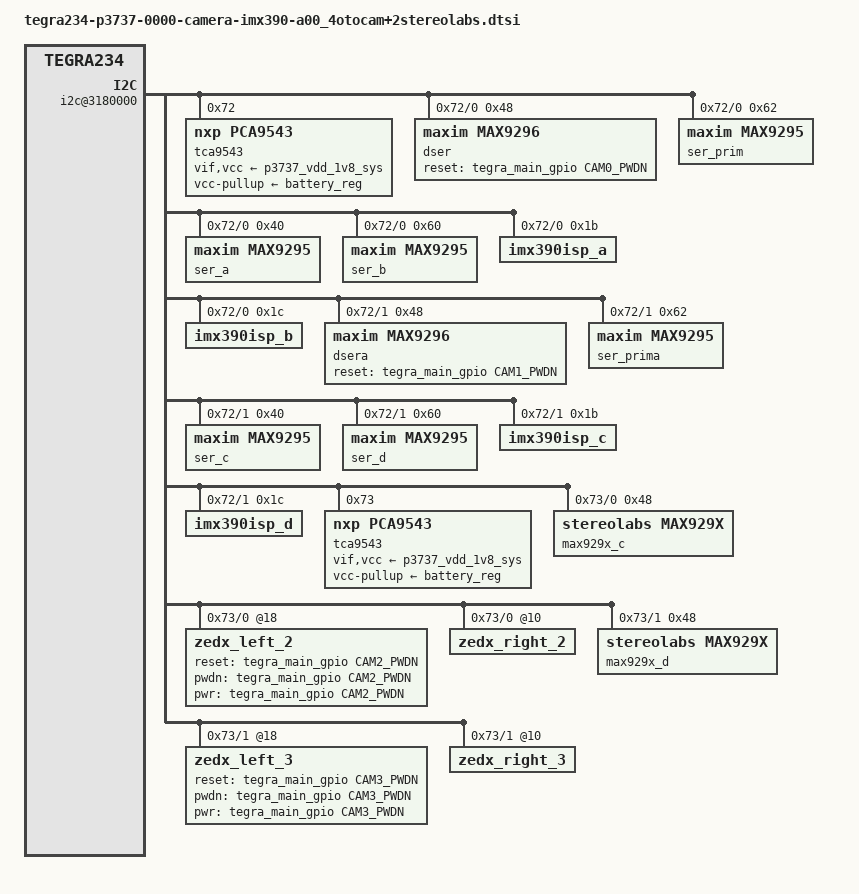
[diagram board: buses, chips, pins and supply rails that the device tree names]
/*
 * Copyright (c) 2018-2021, NVIDIA CORPORATION.  All rights reserved.
 *
 * This program is free software; you can redistribute it and/or modify it
 * under the terms and conditions of the GNU General Public License,
 * version 2, as published by the Free Software Foundation.
 *
 * This program is distributed in the hope it will be useful, but WITHOUT
 * ANY WARRANTY; without even the implied warranty of MERCHANTABILITY or
 * FITNESS FOR A PARTICULAR PURPOSE.  See the GNU General Public License for
 * more details.
 *
 * You should have received a copy of the GNU General Public License
 * along with this program.  If not, see <http://www.gnu.org/licenses/>.
 */
#include <t234-common-modules/tegra234-camera-ar0234-a00-4otocam+2stereolabs.dtsi>
#include "dt-bindings/clock/tegra234-clock.h"


#define CAM0_PWDN	TEGRA234_MAIN_GPIO(H, 6)
#define CAM1_PWDN	TEGRA234_MAIN_GPIO(AC, 0)
#define CAM2_PWDN	TEGRA234_MAIN_GPIO(H, 3)
#define CAM3_PWDN	TEGRA234_MAIN_GPIO(AC, 1)
#define CAMERA_I2C_MUX_BUS(x) (0x1E + x)

/* camera control gpio definitions */

/ {
	i2c@3180000 {
		tca9543@72 {
			compatible = "nxp,pca9543";
			reg = <0x72>;
			#address-cells = <1>;
			#size-cells = <0>;
			skip_mux_detect = "yes";
			vif-supply = <&p3737_vdd_1v8_sys>;
			vcc-supply = <&p3737_vdd_1v8_sys>;
			vcc-pullup-supply = <&battery_reg>;
			force_bus_start = <CAMERA_I2C_MUX_BUS(0)>;
			i2c-mux-idle-disconnect;
			i2c@0 {
				reg = <0>;
				i2c-mux,deselect-on-exit;
				#address-cells = <1>;
				#size-cells = <0>;
				i2c-mux-idle-disconnect;
				dser: max9296@48 {
					compatible = "maxim,max9296";
					streams = "yuv8";
					reg = <0x48>;
					csi-mode = "2x4";
					max-src = <2>;
					fsync-gpio = <6>; //fsync gpio on 9296
					reset-gpios = <&tegra_main_gpio CAM0_PWDN GPIO_ACTIVE_HIGH>;
				};
				ser_prim: max9295_prim@62 {
					compatible = "maxim,max9295";
					reg = <0x62>;
					is-prim-ser;
				};
				ser_a: max9295_a@40 {
					compatible = "maxim,max9295";
					reg = <0x40>;
					nvidia,gmsl-dser-device = <&dser>;
				};
				ser_b: max9295_b@60 {
					compatible = "maxim,max9295";
					reg = <0x60>;
					nvidia,gmsl-dser-device = <&dser>;
				};
				imx390isp_a@1b {
					reg = <0x1b>;
					
					/* Define any required hw resources needed by driver */
					/* ie. clocks, io pins, power sources */
					clocks = <&bpmp_clks TEGRA234_CLK_EXTPERIPH1>,
							<&bpmp_clks TEGRA234_CLK_EXTPERIPH1>;
					clock-names = "extperiph1", "pllp_grtba";
					mclk = "extperiph1";
					nvidia,gmsl-ser-device = <&ser_a>;
					nvidia,gmsl-dser-device = <&dser>;
				};
				imx390isp_b@1c {
					reg = <0x1c>;
					
					/* Define any required hw resources needed by driver */
					/* ie. clocks, io pins, power sources */
					clocks = <&bpmp_clks TEGRA234_CLK_EXTPERIPH1>,
							<&bpmp_clks TEGRA234_CLK_EXTPERIPH1>;
					clock-names = "extperiph1", "pllp_grtba";
					mclk = "extperiph1";
					nvidia,gmsl-ser-device = <&ser_b>;
					nvidia,gmsl-dser-device = <&dser>;
				};
			};
			i2c@1 {
				reg = <1>;
				i2c-mux,deselect-on-exit;
				#address-cells = <1>;
				#size-cells = <0>;
				i2c-mux-idle-disconnect;
				dsera: max9296@48 {
					compatible = "maxim,max9296";
					//streams = "yuv8";
					reg = <0x48>;
					csi-mode = "2x4";
					max-src = <2>;
					reset-gpios = <&tegra_main_gpio CAM1_PWDN GPIO_ACTIVE_HIGH>;
                                        fsync-gpio = <6>; //fsync gpio on 9296
				};
				ser_prima: max9295_prim@62 {
					compatible = "maxim,max9295";
					//streams = "yuv8";
					reg = <0x62>;
					is-prim-ser;
				};
				ser_c: max9295_a@40 {
					compatible = "maxim,max9295";
					reg = <0x40>;
					nvidia,gmsl-dser-device = <&dsera>;
				};
				ser_d: max9295_b@60 {
					compatible = "maxim,max9295";
					reg = <0x60>;
					nvidia,gmsl-dser-device = <&dsera>;
				};
				imx390isp_c@1b{
					reg = <0x1b>;
						
					clocks = <&bpmp_clks TEGRA234_CLK_EXTPERIPH1>,
							<&bpmp_clks TEGRA234_CLK_EXTPERIPH1>;
					clock-names = "extperiph1", "pllp_grtba";
					mclk = "extperiph1";
					nvidia,gmsl-ser-device = <&ser_c>;
					nvidia,gmsl-dser-device = <&dsera>;
				};
				imx390isp_d@1c {
					reg = <0x1c>;
						
					clocks = <&bpmp_clks TEGRA234_CLK_EXTPERIPH1>,
							<&bpmp_clks TEGRA234_CLK_EXTPERIPH1>;
					clock-names = "extperiph1", "pllp_grtba";
					mclk = "extperiph1";
					nvidia,gmsl-ser-device = <&ser_d>;
					nvidia,gmsl-dser-device = <&dsera>;
				};
			};

		};
		tca9543@73 {
			compatible = "nxp,pca9543";
			reg = <0x73>;
			#address-cells = <1>;
			#size-cells = <0>;
			i2c-mux-idle-disconnect;
			idle-state = <1>;
			skip_mux_detect = "yes";
			vif-supply = <&p3737_vdd_1v8_sys>;
			vcc-supply = <&p3737_vdd_1v8_sys>;
			vcc-pullup-supply = <&battery_reg>;
			force_bus_start = <CAMERA_I2C_MUX_BUS(2)>; /* Force start of bus 32 */
			i2c-mux-idle-disconnect;
			status = "okay";
			/* /dev/i2c-32/ */
			i2c@0 {
				reg = <0>;
				i2c-mux,deselect-on-exit;
				#address-cells = <1>;
				#size-cells = <0>;
				i2c-mux-idle-disconnect;
				/* deserializer MAX9296 at address 0x48*/
				max929x_c@48 {
					compatible = "stereolabs,max929x";
					reg = <0x48>;  /* deserializer i2c_address */
					channel = "c"; /* deserializer channel: one per deser */
				};
 

				/* ZEDX 2 Left Cam*/
				zedx_left_2@18 {
					status = "okay";
					def-addr = <0x18>;
					/* Define any required hw resources needed by driver */
					/* ie. clocks, io pins, power sources */
					clocks = <&bpmp_clks TEGRA234_CLK_EXTPERIPH1>,
							<&bpmp_clks TEGRA234_CLK_EXTPERIPH1>;
					clock-names = "extperiph1", "pllp_grtba";
					mclk = "extperiph1";
					channel = "c";   /* deserializer channel */
					mode = "master";
					reset-gpio = <&tegra_main_gpio CAM2_PWDN GPIO_ACTIVE_HIGH>;
					pwdn-gpios = <&tegra_main_gpio CAM2_PWDN GPIO_ACTIVE_HIGH>;
					pwr-gpios = <&tegra_main_gpio CAM2_PWDN GPIO_ACTIVE_HIGH>;
					has-eeprom;
				};

				/* ZEDX 2 Right Cam*/
				zedx_right_2@10 {
					status = "okay";
					def-addr = <0x10>;
					/* Define any required hw resources needed by driver */
					/* ie. clocks, io pins, power sources */
					clocks = <&bpmp_clks TEGRA234_CLK_EXTPERIPH1>,
									<&bpmp_clks TEGRA234_CLK_EXTPERIPH1>;
					clock-names = "extperiph1", "pllp_grtba";
					mclk = "extperiph1";
					channel = "c";  /* deserializer channel */
					mode = "slave";
					has-eeprom;
				};
			};

			/* /dev/i2c-33/ */
			i2c@1 {
				reg = <1>;
				i2c-mux,deselect-on-exit;
				#address-cells = <1>;
				#size-cells = <0>;
 				i2c-mux-idle-disconnect;
				/* deserializer MAX9296 at address 0x48*/
				max929x_d@48 {
					compatible = "stereolabs,max929x";
					reg = <0x48>;  /* deserializer i2c_address */
					channel = "d"; /* deserializer channel: one per deser */
				};

				/* ZEDX 1 Left Cam*/
				zedx_left_3@18 {
					status = "okay";
					def-addr = <0x18>;
					/* Define any required hw resources needed by driver */
					/* ie. clocks, io pins, power sources */
					clocks = <&bpmp_clks TEGRA234_CLK_EXTPERIPH1>,
							<&bpmp_clks TEGRA234_CLK_EXTPERIPH1>;
					clock-names = "extperiph1", "pllp_grtba";
					mclk = "extperiph1";
					channel = "d";  /* deserializer channel: same as MAX associated */
					mode = "master";
					reset-gpio = <&tegra_main_gpio CAM3_PWDN GPIO_ACTIVE_HIGH>;
					pwdn-gpios = <&tegra_main_gpio CAM3_PWDN GPIO_ACTIVE_HIGH>;
					pwr-gpios = <&tegra_main_gpio CAM3_PWDN GPIO_ACTIVE_HIGH>;
					has-eeprom;
				};

				/* ZEDX 1 Right Cam*/
				zedx_right_3@10 {
					status = "okay";
					def-addr = <0x10>;
					/* Define any required hw resources needed by driver */
					/* ie. clocks, io pins, power sources */
					clocks = <&bpmp_clks TEGRA234_CLK_EXTPERIPH1>,
									<&bpmp_clks TEGRA234_CLK_EXTPERIPH1>;
					clock-names = "extperiph1", "pllp_grtba";
					mclk = "extperiph1";
					channel = "d"; /* deserializer channel: same as MAX associated*/
					mode = "slave";
					has-eeprom;
				};
			};
		};

	};
};
